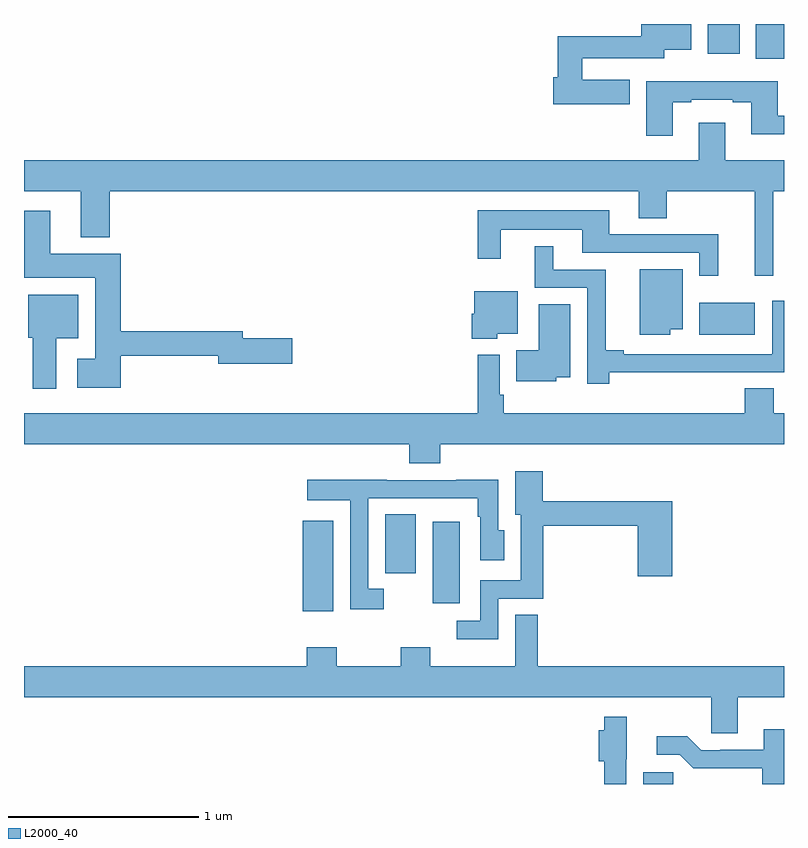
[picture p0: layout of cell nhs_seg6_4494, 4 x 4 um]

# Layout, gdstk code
import gdstk
lib = gdstk.Library(unit=1e-6, precision=1e-09)
def R(c, l, rs):  # rectangles x0, y0, x1, y1
    for r in rs: c.add(gdstk.rectangle(r[:2], r[2:], *l))
def P(c, l, *ps):  # polygons
    for p in ps: c.add(gdstk.Polygon(p, *l))
L2000_40 = (2000, 40)

nhs_seg6_4494 = lib.new_cell('nhs_seg6_4494')
R(nhs_seg6_4494, L2000_40, [(378.26,993.5,378.418,993.561), (376.466,994.41,376.627,994.885), (377.15,994.452,377.293,994.879), (376.901,994.608,377.062,994.919), (378.554,995.864,378.847,996.034), (378.851,997.316,379,997.5), (378.599,997.344,378.766,997.5)])
P(nhs_seg6_4494, L2000_40, [(378.187,997.207),(377.938,997.207),(377.938,997.32),(378.37,997.32),(378.37,997.364),(378.511,997.364),(378.511,997.5),(378.248,997.5),(378.248,997.436),(377.809,997.436),(377.809,997.22),(377.786,997.22),(377.786,997.078),(378.187,997.078)],
  [(378.415,997.089),(378.511,997.089),(378.511,997.101),(378.731,997.101),(378.731,997.089),(378.827,997.089),(378.827,996.92),(379,996.92),(379,997.017),(378.967,997.017),(378.967,997.198),(378.275,997.198),(378.275,996.912),(378.415,996.912)],
  [(378.845,996.174),(378.944,996.174),(378.944,996.62),(379,996.62),(379,996.784),(378.691,996.784),(378.691,996.979),(378.551,996.979),(378.551,996.784),(375,996.784),(375,996.62),(375.299,996.62),(375.299,996.377),(375.452,996.377),(375.452,996.62),(378.236,996.62),(378.236,996.478),(378.384,996.478),(378.384,996.62),(378.845,996.62)],
  [(378.653,996.393),(378.079,996.393),(378.079,996.52),(377.388,996.52),(377.388,996.264),(377.509,996.264),(377.509,996.416),(377.939,996.416),(377.939,996.297),(378.555,996.297),(378.555,996.174),(378.653,996.174)],
  [(375.509,995.754),(376.022,995.754),(376.022,995.711),(376.411,995.711),(376.411,995.846),(376.15,995.846),(376.15,995.882),(375.509,995.882),(375.509,996.292),(375.139,996.292),(375.139,996.517),(375,996.517),(375,996.164),(375.374,996.164),(375.374,995.737),(375.279,995.737),(375.279,995.585),(375.509,995.585)],
  [(378.08,995.666),(378.71,995.666),(378.71,995.667),(379,995.667),(379,996.043),(378.939,996.043),(378.939,995.763),(378.157,995.763),(378.157,995.783),(378.062,995.783),(378.062,996.207),(377.785,996.207),(377.785,996.331),(377.687,996.331),(377.687,996.111),(377.964,996.111),(377.964,995.607),(378.08,995.607)],
  [(378.4,995.894),(378.466,995.894),(378.466,996.208),(378.242,996.208),(378.242,995.864),(378.4,995.864)],
  [(377.49,995.87),(377.599,995.87),(377.599,996.094),(377.369,996.094),(377.369,995.974),(377.357,995.974),(377.357,995.843),(377.49,995.843)],
  [(375.169,995.846),(375.286,995.846),(375.286,996.076),(375.023,996.076),(375.023,995.85),(375.047,995.85),(375.047,995.58),(375.169,995.58)],
  [(377.802,995.642),(377.875,995.642),(377.875,996.026),(377.708,996.026),(377.708,995.782),(377.59,995.782),(377.59,995.621),(377.802,995.621)],
  [(377.192,995.288),(379,995.288),(379,995.452),(378.946,995.452),(378.946,995.582),(378.794,995.582),(378.794,995.452),(377.525,995.452),(377.525,995.548),(377.505,995.548),(377.505,995.758),(377.389,995.758),(377.389,995.452),(375,995.452),(375,995.288),(377.027,995.288),(377.027,995.189),(377.192,995.189)],
  [(377.496,994.476),(377.734,994.476),(377.734,994.858),(378.23,994.858),(378.23,994.593),(378.413,994.593),(378.413,994.987),(377.729,994.987),(377.729,995.146),(377.585,995.146),(377.585,994.917),(377.615,994.917),(377.615,994.572),(377.4,994.572),(377.4,994.359),(377.277,994.359),(377.277,994.262),(377.496,994.262)],
  [(376.894,994.527),(376.812,994.527),(376.812,995.004),(377.388,995.004),(377.388,994.907),(377.4,994.907),(377.4,994.677),(377.527,994.677),(377.527,994.836),(377.496,994.836),(377.496,995.102),(377.275,995.102),(377.275,995.1),(376.909,995.1),(376.909,995.102),(376.491,995.102),(376.491,994.994),(376.716,994.994),(376.716,994.419),(376.894,994.419)],
  [(378.757,993.956),(379,993.956),(379,994.12),(377.704,994.12),(377.704,994.391),(377.585,994.391),(377.585,994.12),(377.139,994.12),(377.139,994.219),(376.984,994.219),(376.984,994.12),(376.647,994.12),(376.647,994.219),(376.487,994.219),(376.487,994.12),(375,994.12),(375,993.956),(378.618,993.956),(378.618,993.766),(378.757,993.766)],
  [(378.171,993.63),(378.172,993.63),(378.172,993.853),(378.055,993.853),(378.055,993.784),(378.026,993.784),(378.026,993.619),(378.055,993.619),(378.055,993.5),(378.171,993.5)],
  [(379,993.787),(378.893,993.787),(378.893,993.681),(378.664,993.681),(378.664,993.678),(378.564,993.678),(378.491,993.751),(378.33,993.751),(378.33,993.654),(378.45,993.654),(378.523,993.582),(378.886,993.582),(378.886,993.5),(379,993.5)])

lib.write_gds('nhs_seg6_4494.gds')
